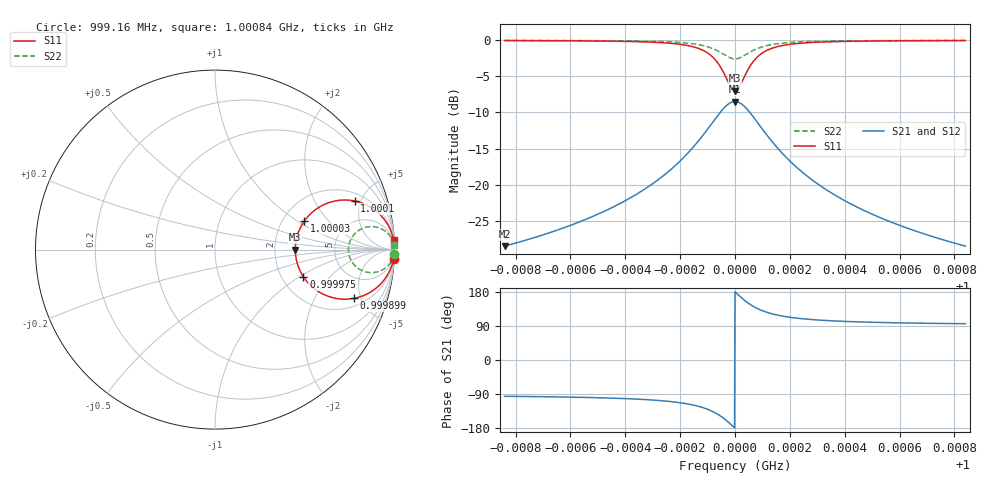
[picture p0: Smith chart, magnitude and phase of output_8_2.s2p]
! File generated for n1 = 8, n2 = 2
! b1 = 0.464159
! b2 = 0.215443
! Q0 = 10000.000000
! f0 = 1000000000.000000
! n = 1001
! rel_span = 10.000000
# Hz S RI R 50
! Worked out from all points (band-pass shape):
!   1001 points, 999.16 MHz to 1.00084 GHz, reference 50 ohm
!   highest |S21| = -8.48 dB at 1 GHz (marker M1); lowest = -28.5 dB at 999.16 MHz (marker M2)
!   |S21| within 3 dB of the highest: 999.9162 MHz to 1.000084 GHz (167.6 kHz wide, 0.0168 % of centre)
!   lowest |S11| = -7.0 dB at 1 GHz (marker M3), VSWR 2.62, Z = 131 + j0 ohm
!   |S11| at or under -10 dB: nowhere
!   |S22| runs from -2.6 to 0.0 dB; largest |S21 - S12| = 0
!   S11 on the Smith chart (normalised r, x): 999.16 MHz: 3, -36; 999.899 MHz: 2.62, -4.34; 999.975 MHz: 2.62, -1.09; 1.00003 GHz: 2.62, +1.16; 1.0001 GHz: 2.62, +4.41; 1.00084 GHz: 3, +36
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9.991602e8  0.9945 -0.0547  -0.00373 -0.0373  -0.00373 -0.0373  0.9975 -0.0254
9.994407e8  0.9878 -0.0811  -0.0083 -0.0553  -0.0083 -0.0553  0.9943 -0.0377
9.995952e8  0.9772 -0.1099  -0.0155 -0.0749  -0.0155 -0.0749  0.9894 -0.051
9.997212e8  0.954 -0.1526  -0.0313 -0.104  -0.0313 -0.104  0.9787 -0.0708
9.998287e8  0.8929 -0.2184  -0.0729 -0.1488  -0.0729 -0.1488  0.9503 -0.1014
9.998673e8  0.8419 -0.2498  -0.1077 -0.1702  -0.1077 -0.1702  0.9266 -0.1159
9.998992e8  0.7735 -0.2718  -0.1543 -0.1852  -0.1543 -0.1852  0.8949 -0.1262
9.999412e8  0.6291 -0.2597  -0.2527 -0.1769  -0.2527 -0.1769  0.8278 -0.1205
9.99958e8  0.5578 -0.2211  -0.3012 -0.1506  -0.3012 -0.1506  0.7948 -0.1026
9.999748e8  0.4929 -0.1521  -0.3455 -0.1036  -0.3455 -0.1036  0.7646 -0.0706
1e9  0.4473 0  -0.3766 0  -0.3766 0  0.7435 0
1.000012e9  0.4579 0.0759  -0.3693 0.0517  -0.3693 0.0517  0.7484 0.0352
1.000027e9  0.4986 0.1604  -0.3416 0.1093  -0.3416 0.1093  0.7673 0.0745
1.000042e9  0.5578 0.2211  -0.3012 0.1506  -0.3012 0.1506  0.7948 0.1026
1.000059e9  0.6291 0.2597  -0.2527 0.1769  -0.2527 0.1769  0.8278 0.1205
1.000102e9  0.7779 0.271  -0.1513 0.1846  -0.1513 0.1846  0.8969 0.1258
1.000134e9  0.8447 0.2484  -0.1058 0.1692  -0.1058 0.1692  0.9279 0.1153
1.000173e9  0.8946 0.2171  -0.0718 0.1479  -0.0718 0.1479  0.9511 0.1008
1.00028e9  0.9545 0.1519  -0.031 0.1035  -0.031 0.1035  0.9789 0.0705
1.000406e9  0.9774 0.1095  -0.0154 0.0746  -0.0154 0.0746  0.9895 0.0508
1.000561e9  0.9879 0.0809  -0.00826 0.0551  -0.00826 0.0551  0.9944 0.0376
1.00084e9  0.9945 0.0547  -0.00373 0.0373  -0.00373 0.0373  0.9975 0.0254
